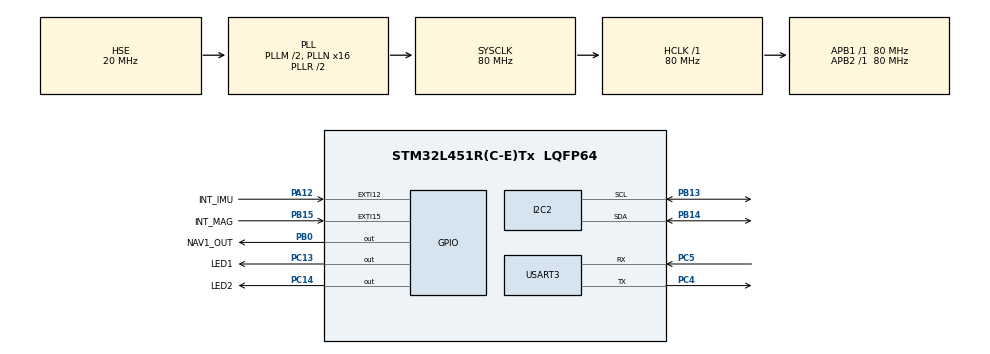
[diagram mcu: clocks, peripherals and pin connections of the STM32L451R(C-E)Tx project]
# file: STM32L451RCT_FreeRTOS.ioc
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FREERTOS.Tasks01=defaultTask,24,128,StartDefaultTask,Default,NULL,Dynamic,NULL,NULL
FREERTOS.configGENERATE_RUN_TIME_STATS=1
FREERTOS.configUSE_STATS_FORMATTING_FUNCTIONS=1
I2C2.Timing=0x10909CEC
Mcu.Family=STM32L4
Mcu.Name=STM32L451R(C-E)Tx
Mcu.Package=LQFP64
NVIC.EXTI15_10_IRQn=true\:5\:0\:true\:false\:true\:true\:true\:true
NVIC.I2C2_EV_IRQn=true\:5\:0\:true\:false\:true\:true\:true\:true
NVIC.PriorityGroup=NVIC_PRIORITYGROUP_4
NVIC.TIM1_UP_TIM16_IRQn=true\:5\:0\:false\:false\:true\:true\:true\:true
NVIC.USART3_IRQn=true\:5\:0\:false\:false\:true\:true\:true\:true
PA12.GPIO_Label=INT_IMU
PA12.GPIO_ModeDefaultEXTI=GPIO_MODE_IT_FALLING
PA12.GPIO_PuPd=GPIO_PULLUP
PA12.Signal=GPXTI12
PA13\ (JTMS/SWDIO).Mode=Trace_Asynchronous_SW
PA13\ (JTMS/SWDIO).Signal=SYS_JTMS-SWDIO
PA14\ (JTCK/SWCLK).Mode=Trace_Asynchronous_SW
PA14\ (JTCK/SWCLK).Signal=SYS_JTCK-SWCLK
PB0.GPIO_Label=NAV1_OUT
PB0.Signal=GPIO_Output
PB13.Mode=I2C
PB13.Signal=I2C2_SCL
PB14.Mode=I2C
PB14.Signal=I2C2_SDA
PB15.GPIO_Label=INT_MAG
PB15.GPIO_ModeDefaultEXTI=GPIO_MODE_IT_RISING
PB15.GPIO_PuPd=GPIO_NOPULL
PB15.Signal=GPXTI15
PB3\ (JTDO/TRACESWO).Mode=Trace_Asynchronous_SW
PB3\ (JTDO/TRACESWO).Signal=SYS_JTDO-SWO
PC13.GPIO_Label=LED1
PC13.Signal=GPIO_Output
PC14-OSC32_IN\ (PC14).GPIO_Label=LED2
PC14-OSC32_IN\ (PC14).Signal=GPIO_Output
PC4.Mode=Asynchronous
PC4.Signal=USART3_TX
PC5.Mode=Asynchronous
PC5.Signal=USART3_RX
PH0-OSC_IN\ (PH0).Mode=HSE-External-Oscillator
PH0-OSC_IN\ (PH0).Signal=RCC_OSC_IN
PH1-OSC_OUT\ (PH1).Mode=HSE-External-Oscillator
PH1-OSC_OUT\ (PH1).Signal=RCC_OSC_OUT
ProjectManager.HeapSize=0x200
ProjectManager.StackSize=0x400
ProjectManager.TargetToolchain=STM32CubeIDE
RCC.ADCFreq_Value=40000000
RCC.AHBFreq_Value=80000000
RCC.APB1Freq_Value=80000000
RCC.APB1TimFreq_Value=80000000
RCC.APB2Freq_Value=80000000
RCC.APB2TimFreq_Value=80000000
RCC.CortexFreq_Value=80000000
RCC.HCLKFreq_Value=80000000
RCC.HSE_VALUE=20000000
RCC.HSI48_VALUE=48000000
RCC.HSI_VALUE=16000000
RCC.LSE_VALUE=32768
RCC.MSI_VALUE=4000000
RCC.PLLM=2
RCC.PLLN=16
RCC.PLLSourceVirtual=RCC_PLLSOURCE_HSE
RCC.SYSCLKFreq_VALUE=80000000
RCC.SYSCLKSource=RCC_SYSCLKSOURCE_PLLCLK
RCC.VCOOutputFreq_Value=160000000
TIM16.Period=799
USART3.VirtualMode-Asynchronous=VM_ASYNC
VP_FREERTOS_VS_CMSIS_V2.Mode=CMSIS_V2
VP_TIM16_VS_ClockSourceINT.Mode=Enable_Timer
board=custom

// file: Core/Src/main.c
/* USER CODE BEGIN Header */
/**
  ******************************************************************************
  * @file           : main.c
  * @brief          : Main program body
  ******************************************************************************
  * @attention
  *
  * <h2><center>&copy; Copyright (c) 2021 STMicroelectronics.
  * All rights reserved.</center></h2>
  *
  * This software component is licensed by ST under BSD 3-Clause license,
  * the "License"; You may not use this file except in compliance with the
  * License. You may obtain a copy of the License at:
  *                        opensource.org/licenses/BSD-3-Clause
  *
  ******************************************************************************
  */
/* USER CODE END Header */
#include "main.h"
#include "cmsis_os.h"
#include "i2c.h"
#include "tim.h"
#include "usart.h"
#include "gpio.h"

/* USER CODE BEGIN Includes */
#include "IIM42652.h"
#include "MLX90393.h"
/* USER CODE END Includes */

/* USER CODE BEGIN PV */
IIM42652 IMU;
MLX90393 MAG;

TaskHandle_t taskLED_Handler 	= NULL;
TaskHandle_t taskMAG_Handler 	= NULL;
TaskHandle_t tasIMU_Handler 	= NULL;

volatile unsigned long ulHighFrequencyTimerTicks;

/* USER CODE END PV */

void SystemClock_Config(void);
void MX_FREERTOS_Init(void);

/* USER CODE BEGIN 0 */

void taskSensorMAG ( void *pvParameters )
{
	int16_t magX, magY, magZ;

	while(1)
	{
		MLX90393_ReadMeasurementAxisAll( &MAG, &magX, &magY, &magZ );
	}
}

void taskSensorIMU ( void *pvParameters )
{

	while(1)
	{
		IIM42652_ReadMeasurementAxisAll( &IMU );
	}
}

/* Task for blinking LED and sensor task initialization  */
void taskLED ( void *pvParameters )
{

	static uint32_t pin_state = 0;
	HAL_StatusTypeDef i2cStatus = HAL_OK;

	/* This section initializes sensors and sensors tasks */

	i2cStatus |= IIM42652_Init(&IMU, &hi2c2);
	//i2cStatus |= MLX90393_Init(&MAG, &hi2c2);

	if(i2cStatus == HAL_ERROR)
	{ /* Error condition */
		HAL_GPIO_WritePin(LED2_GPIO_Port, LED2_Pin, 1);
	}

	enableIRQ();

	BaseType_t xReturnIMU = xTaskCreate ( taskSensorIMU, "IMU", 300, NULL, 3, &tasIMU_Handler );
	//BaseType_t xReturnMAG = xTaskCreate ( taskSensorMAG, "MAG", 100, NULL, 3, &taskMAG_Handler );

	//if( ( xReturnIMU | xReturnMAG ) == pdFALSE )  { /* Error condition */ }

	while(1)
	{
		vTaskDelay(150 / portTICK_PERIOD_MS);

		pin_state = !pin_state;

		HAL_GPIO_WritePin(LED1_GPIO_Port, LED1_Pin, pin_state);
		HAL_Delay(50);

	}
}

/* USER CODE END 0 */

int main(void)
{

  /* MCU Configuration--------------------------------------------------------*/

  /* Reset of all peripherals, Initializes the Flash interface and the Systick. */
  HAL_Init();

  /* USER CODE BEGIN Init */

  /* Initialize init task */
  BaseType_t xReturnLED  = xTaskCreate ( taskLED, "t_LED", 100, NULL, 2, &taskLED_Handler );

  if( ( xReturnLED ) == pdFALSE ) { /* Error condition */ }

  /* USER CODE END Init */

  /* Configure the system clock */
  SystemClock_Config();

  /* Initialize all configured peripherals */
  MX_GPIO_Init();
  MX_I2C2_Init();
  MX_TIM16_Init();
  MX_USART3_UART_Init();
  /* USER CODE BEGIN 2 */

  /* Disables INT pin for UART */
  HAL_GPIO_WritePin(NAV1_OUT_GPIO_Port, NAV1_OUT_Pin, 0x00);

  /* USER CODE END 2 */

  /* Init scheduler */
  osKernelInitialize();  /* Call init function for freertos objects (in freertos.c) */
  MX_FREERTOS_Init();
  /* Start scheduler */
  osKernelStart();

  /* We should never get here as control is now taken by the scheduler */
  /* Infinite loop */
  while (1)
  {

  }
}

void SystemClock_Config(void)
{
  RCC_OscInitTypeDef RCC_OscInitStruct = {0};
  RCC_ClkInitTypeDef RCC_ClkInitStruct = {0};

  /** Configure the main internal regulator output voltage
  */
  if (HAL_PWREx_ControlVoltageScaling(PWR_REGULATOR_VOLTAGE_SCALE1) != HAL_OK)
  {
    Error_Handler();
  }
  /** Initializes the RCC Oscillators according to the specified parameters
  * in the RCC_OscInitTypeDef structure.
  */
  RCC_OscInitStruct.OscillatorType = RCC_OSCILLATORTYPE_HSE;
  RCC_OscInitStruct.HSEState = RCC_HSE_ON;
  RCC_OscInitStruct.PLL.PLLState = RCC_PLL_ON;
  RCC_OscInitStruct.PLL.PLLSource = RCC_PLLSOURCE_HSE;
  RCC_OscInitStruct.PLL.PLLM = 2;
  RCC_OscInitStruct.PLL.PLLN = 16;
  RCC_OscInitStruct.PLL.PLLP = RCC_PLLP_DIV7;
  RCC_OscInitStruct.PLL.PLLQ = RCC_PLLQ_DIV2;
  RCC_OscInitStruct.PLL.PLLR = RCC_PLLR_DIV2;
  if (HAL_RCC_OscConfig(&RCC_OscInitStruct) != HAL_OK)
  {
    Error_Handler();
  }
  /** Initializes the CPU, AHB and APB buses clocks
  */
  RCC_ClkInitStruct.ClockType = RCC_CLOCKTYPE_HCLK|RCC_CLOCKTYPE_SYSCLK
                              |RCC_CLOCKTYPE_PCLK1|RCC_CLOCKTYPE_PCLK2;
  RCC_ClkInitStruct.SYSCLKSource = RCC_SYSCLKSOURCE_PLLCLK;
  RCC_ClkInitStruct.AHBCLKDivider = RCC_SYSCLK_DIV1;
  RCC_ClkInitStruct.APB1CLKDivider = RCC_HCLK_DIV1;
  RCC_ClkInitStruct.APB2CLKDivider = RCC_HCLK_DIV1;

  if (HAL_RCC_ClockConfig(&RCC_ClkInitStruct, FLASH_LATENCY_4) != HAL_OK)
  {
    Error_Handler();
  }
}

/* USER CODE BEGIN 4 */

void configureTimerForRunTimeStats(void) {
  ulHighFrequencyTimerTicks = 0;
  HAL_TIM_Base_Start_IT(&htim16);
}

unsigned long getRunTimeCounterValue(void) {
  return ulHighFrequencyTimerTicks;
}

/* USER CODE END 4 */

void Error_Handler(void)
{
  __disable_irq();
  while (1)
  {
  }
}

/************************ (C) COPYRIGHT STMicroelectronics *****END OF FILE****/

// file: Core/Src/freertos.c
/* USER CODE BEGIN Header */
/**
  ******************************************************************************
  * File Name          : freertos.c
  * Description        : Code for freertos applications
  ******************************************************************************
  * @attention
  *
  * <h2><center>&copy; Copyright (c) 2021 STMicroelectronics.
  * All rights reserved.</center></h2>
  *
  * This software component is licensed by ST under Ultimate Liberty license
  * SLA0044, the "License"; You may not use this file except in compliance with
  * the License. You may obtain a copy of the License at:
  *                             www.st.com/SLA0044
  *
  ******************************************************************************
  */
/* USER CODE END Header */

#include "FreeRTOS.h"
#include "task.h"
#include "main.h"
#include "cmsis_os.h"

/* Definitions for defaultTask */
osThreadId_t defaultTaskHandle;
const osThreadAttr_t defaultTask_attributes = {
  .name = "defaultTask",
  .stack_size = 128 * 4,
  .priority = (osPriority_t) osPriorityNormal,
};

void StartDefaultTask(void *argument);

void MX_FREERTOS_Init(void); /* (MISRA C 2004 rule 8.1) */

/* Hook prototypes */
void configureTimerForRunTimeStats(void);
unsigned long getRunTimeCounterValue(void);

/* USER CODE BEGIN 1 */
/* Functions needed when configGENERATE_RUN_TIME_STATS is on */
__weak void configureTimerForRunTimeStats(void)
{

}

__weak unsigned long getRunTimeCounterValue(void)
{
return 0;
}
/* USER CODE END 1 */

void MX_FREERTOS_Init(void) {

  /* Create the thread(s) */
  /* creation of defaultTask */
  defaultTaskHandle = osThreadNew(StartDefaultTask, NULL, &defaultTask_attributes);

}

void StartDefaultTask(void *argument)
{
  for(;;)
  {
    osDelay(1);
  }
}

/************************ (C) COPYRIGHT STMicroelectronics *****END OF FILE****/
